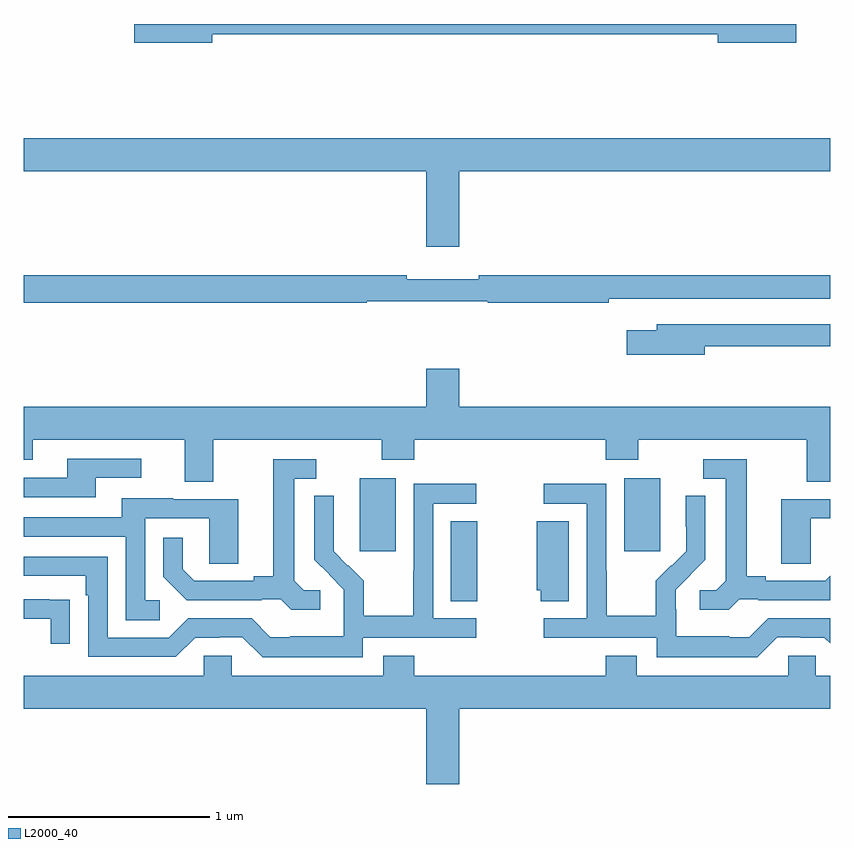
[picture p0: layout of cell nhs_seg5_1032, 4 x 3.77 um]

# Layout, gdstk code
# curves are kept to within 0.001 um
import gdstk
lib = gdstk.Library(unit=1e-6, precision=1e-09)
def R(c, l, rs):  # rectangles x0, y0, x1, y1
    for r in rs: c.add(gdstk.rectangle(r[:2], r[2:], *l))
def P(c, l, *ps):  # polygons
    for p in ps: c.add(gdstk.Polygon(p, *l))
L2000_40 = (2000, 40)

nhs_seg5_1032 = lib.new_cell('nhs_seg5_1032')
R(nhs_seg5_1032, L2000_40, [(177.119,879.937,177.25,880.334), (176.666,880.185,176.845,880.546), (177.977,880.185,178.156,880.546)])
P(nhs_seg5_1032, L2000_40, [(175.936,882.748),(178.442,882.748),(178.442,882.706),(178.831,882.706),(178.831,882.799),(175.548,882.799),(175.548,882.706),(175.936,882.706)],
  [(177.16,882.068),(179,882.068),(179,882.232),(175,882.232),(175,882.068),(176.996,882.068),(176.996,881.694),(177.16,881.694)],
  [(176.702,881.424),(177.302,881.424),(177.302,881.416),(177.902,881.416),(177.902,881.436),(179,881.436),(179,881.552),(177.256,881.552),(177.256,881.533),(176.9,881.533),(176.9,881.552),(175,881.552),(175,881.416),(176.702,881.416)],
  [(178.378,881.202),(179,881.202),(179,881.31),(178.139,881.31),(178.139,881.281),(177.99,881.281),(177.99,881.159),(178.378,881.159)],
  [(175.939,880.736),(176.776,880.736),(176.776,880.637),(176.936,880.637),(176.936,880.736),(177.887,880.736),(177.887,880.637),(178.047,880.637),(178.047,880.736),(178.883,880.736),(178.883,880.528),(179,880.528),(179,880.9),(177.16,880.9),(177.16,881.089),(176.996,881.089),(176.996,880.9),(175,880.9),(175,880.637),(175.045,880.637),(175.045,880.736),(175.799,880.736),(175.799,880.528),(175.939,880.528)],
  [(175.357,880.548),(175.582,880.548),(175.582,880.644),(175.217,880.644),(175.217,880.548),(175,880.548),(175,880.452),(175.357,880.452)],
  [(176.47,879.99),(176.388,879.99),(176.341,880.037),(176.341,880.545),(176.452,880.545),(176.452,880.641),(176.237,880.641),(176.237,880.061),(176.141,880.061),(176.141,880.038),(175.846,880.038),(175.789,880.095),(175.789,880.252),(175.692,880.252),(175.692,880.058),(175.808,879.942),(176.18,879.942),(176.18,879.945),(176.274,879.945),(176.326,879.893),(176.47,879.893)],
  [(178.548,879.945),(178.642,879.945),(178.642,879.942),(179,879.942),(179,880.062),(178.976,880.038),(178.681,880.038),(178.681,880.061),(178.585,880.061),(178.585,880.641),(178.371,880.641),(178.371,880.545),(178.481,880.545),(178.481,880.037),(178.434,879.99),(178.353,879.99),(178.353,879.893),(178.496,879.893)],
  [(178.737,879.759),(178.853,879.759),(178.853,879.756),(178.971,879.756),(179,879.727),(179,879.852),(178.692,879.852),(178.599,879.759),(178.499,879.759),(178.499,879.763),(178.236,879.763),(178.236,879.897),(178.234,879.897),(178.234,879.994),(178.38,880.142),(178.38,880.46),(178.284,880.46),(178.284,880.306),(178.286,880.306),(178.286,880.184),(178.215,880.113),(178.212,880.116),(178.135,880.039),(178.135,879.865),(177.891,879.865),(177.891,880.088),(177.888,880.088),(177.888,880.518),(177.579,880.518),(177.579,880.419),(177.792,880.419),(177.792,879.852),(177.579,879.852),(177.579,879.756),(178.14,879.756),(178.14,879.659),(178.637,879.659)],
  [(176.682,879.756),(177.244,879.756),(177.244,879.852),(177.03,879.852),(177.03,880.419),(177.244,880.419),(177.244,880.518),(176.934,880.518),(176.934,880.088),(176.932,880.088),(176.932,879.865),(176.687,879.865),(176.687,880.039),(176.61,880.116),(176.607,880.113),(176.537,880.184),(176.538,880.46),(176.442,880.46),(176.442,880.142),(176.588,879.994),(176.588,879.897),(176.586,879.897),(176.586,879.763),(176.323,879.763),(176.323,879.759),(176.223,879.759),(176.13,879.852),(175.815,879.852),(175.719,879.756),(175.416,879.756),(175.416,880.158),(175,880.158),(175,880.062),(175.307,880.062),(175.307,879.965),(175.32,879.965),(175.32,879.66),(175.755,879.66),(175.851,879.756),(175.97,879.756),(175.97,879.759),(176.085,879.759),(176.185,879.659),(176.682,879.659)],
  [(175.675,879.942),(175.602,879.942),(175.602,880.347),(175.92,880.347),(175.92,880.123),(176.065,880.123),(176.065,880.443),(175.741,880.443),(175.741,880.447),(175.487,880.447),(175.487,880.353),(175,880.353),(175,880.257),(175.506,880.257),(175.506,879.841),(175.675,879.841)],
  [(178.902,880.347),(179,880.347),(179,880.443),(178.757,880.443),(178.757,880.123),(178.902,880.123)],
  [(177.703,880.334),(177.545,880.334),(177.545,879.99),(177.565,879.99),(177.565,879.937),(177.703,879.937)],
  [(175.229,879.944),(175.127,879.944),(175.127,879.945),(175,879.945),(175,879.849),(175.133,879.849),(175.133,879.726),(175.229,879.726)],
  [(177.16,879.404),(179,879.404),(179,879.568),(178.929,879.568),(178.929,879.666),(178.791,879.666),(178.791,879.568),(178.039,879.568),(178.039,879.667),(177.887,879.667),(177.887,879.568),(176.936,879.568),(176.936,879.667),(176.783,879.667),(176.783,879.568),(176.031,879.568),(176.031,879.666),(175.893,879.666),(175.893,879.568),(175,879.568),(175,879.404),(176.996,879.404),(176.996,879.03),(177.16,879.03)])

lib.write_gds('nhs_seg5_1032.gds')
